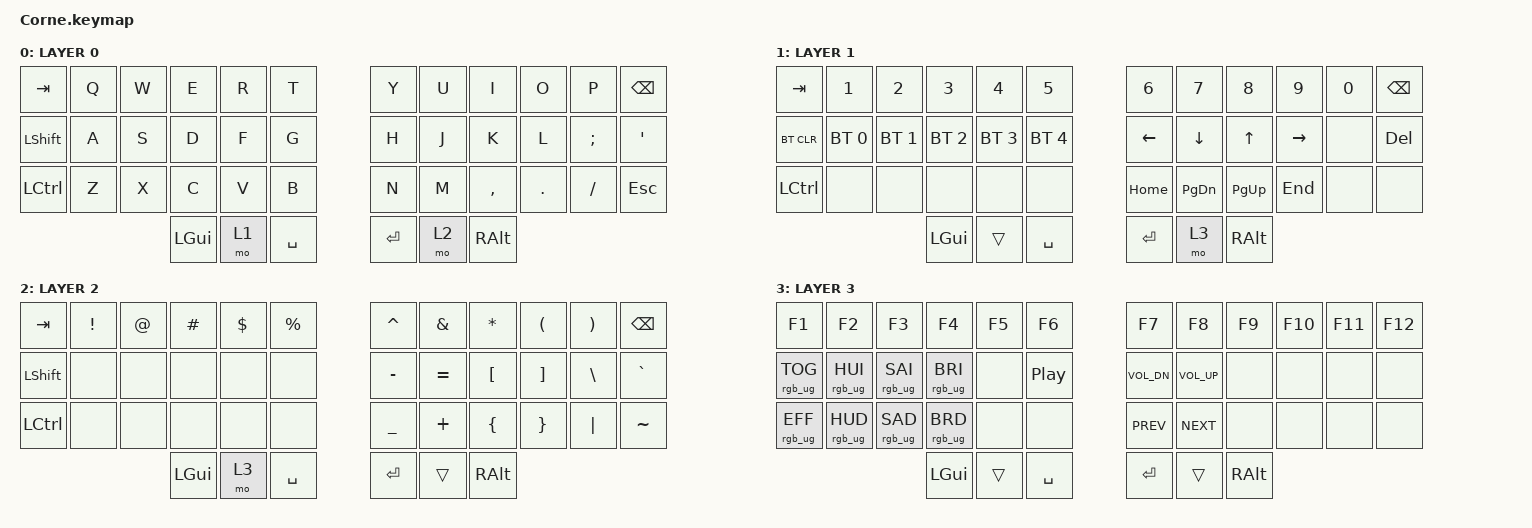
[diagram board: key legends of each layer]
/*
 * Copyright (c) 2020 The ZMK Contributors
 *
 * SPDX-License-Identifier: MIT
 */

#include <behaviors.dtsi>
#include <dt-bindings/zmk/keys.h>
#include <dt-bindings/zmk/bt.h>
#include <dt-bindings/zmk/rgb.h>

/ {
        keymap {
                compatible = "zmk,keymap";

                default_layer {
// -----------------------------------------------------------------------------------------
// |  TAB |  Q  |  W  |  E  |  R  |  T  |   |  Y  |  U   |  I  |  O  |  P  | BKSP |
// | SHFT |  A  |  S  |  D  |  F  |  G  |   |  H  |  J   |  K  |  L  |  ;  |  '   |
// | CTRL |  Z  |  X  |  C  |  V  |  B  |   |  N  |  M   |  ,  |  .  |  /  | ESC  |
//                    | GUI | LWR | SPC |   | ENT | RSE  | ALT |
                        bindings = <
   &kp TAB   &kp Q &kp W &kp E &kp R &kp T   &kp Y &kp U  &kp I     &kp O   &kp P    &kp BSPC
   &kp LSHFT &kp A &kp S &kp D &kp F &kp G   &kp H &kp J  &kp K     &kp L   &kp SEMI &kp SQT
   &kp LCTRL &kp Z &kp X &kp C &kp V &kp B   &kp N &kp M  &kp COMMA &kp DOT &kp FSLH &kp ESC
                  &kp LGUI &mo 1 &kp SPACE   &kp RET &mo 2 &kp RALT
                        >;
                display-name = "LAYER 0";
                };
                lower_layer {
// -----------------------------------------------------------------------------------------
// |  TAB |  1  |  2  |  3  |  4  |  5  |   |  6    | 7    |  8  |  9   |  0  | BKSP |
// | BTCLR| BT1 | BT2 | BT3 | BT4 | BT5 |   | LEFT  | DOWN |  UP | RIGHT|     | DEL  |
// | CTRL |     |     |     |     |     |   | HOME  | PGDN | PGUP| END  |     |      |
//                    | GUI |     | SPC |   | ENT   | FUNC | ALT |
                        bindings = <
   &kp TAB    &kp N1       &kp N2       &kp N3       &kp N4       &kp N5         &kp N6   &kp N7    &kp N8   &kp N9    &kp N0 &kp BSPC
   &bt BT_CLR &bt BT_SEL 0 &bt BT_SEL 1 &bt BT_SEL 2 &bt BT_SEL 3 &bt BT_SEL 4   &kp LEFT &kp DOWN  &kp UP   &kp RIGHT &none  &kp DEL
   &kp LCTRL  &none        &none        &none        &none        &none         &kp HOME &kp PG_DN &kp PG_UP &kp END  &none  &none
                                    &kp LGUI     &trans       &kp SPACE      &kp RET  &mo 3    &kp RALT
                        >;
                display-name = "LAYER 1";
                };

                raise_layer {
// -----------------------------------------------------------------------------------------
// |  TAB |  !  |  @  |  #  |  $  |  %  |   |  ^  |  &  |  *  |  (  |  )  | BKSP |
// | SHFT |     |     |     |     |     |   |  -  |  =  |  [  |  ]  |  \  |  `   |
// | CTRL |     |     |     |     |     |   |  _  |  +  |  {  |  }  | "|" |  ~   |
//                    | GUI | FUNC| SPC |   | ENT |     | ALT |
                        bindings = <
   &kp  TAB  &kp EXCL &kp AT &kp HASH &kp DLLR &kp PRCNT   &kp CARET &kp AMPS  &kp ASTRK &kp LPAR &kp RPAR &kp BSPC
   &kp LSHFT &none    &none  &none    &none    &none       &kp MINUS &kp EQUAL &kp LBKT  &kp RBKT &kp BSLH &kp GRAVE
   &kp LCTRL &none    &none  &none    &none    &none       &kp UNDER &kp PLUS  &kp LBRC  &kp RBRC &kp PIPE &kp TILDE
                             &kp LGUI &mo 3    &kp SPACE   &kp RET   &trans    &kp RALT
                        >;
                display-name = "LAYER 2";
                };

                func_layer {
// -----------------------------------------------------------------------------------------
// |  F1    | F2    | F3    | F4    | F5  | F6   |   | F7   | F8   | F9  | F10 | F11 | F12 |
// | RGBTOG | HUE+  | SAT+  | BRI+  |     | PLAY |   | VOL- | VOL+ |     |     |     |     |
// | RGBEFF | HUE-  | SAT-  | BRI-  |     |      |   | PREV | NEXT |     |     |     |     |
//                    | GUI |     | SPC |   | ENT |     | ALT |
                        bindings = <
   &kp F1        &kp F2      &kp F3      &kp F4      &kp F5 &kp F6      &kp F7    &kp F8    &kp F9 &kp F10 &kp F11 &kp F12
   &rgb_ug RGB_TOG &rgb_ug RGB_HUI &rgb_ug RGB_SAI &rgb_ug RGB_BRI &none  &kp C_PP    &kp C_VOL_DN &kp C_VOL_UP &none  &none   &none   &none
   &rgb_ug RGB_EFF &rgb_ug RGB_HUD &rgb_ug RGB_SAD &rgb_ug RGB_BRD &none  &none       &kp C_PREV   &kp C_NEXT   &none  &none   &none   &none
                                    &kp LGUI      &trans      &kp SPACE   &kp RET   &trans  &kp RALT
                        >;
                display-name = "LAYER 3";
                };
        extra1 { status = "reserved"; };

        extra2 { status = "reserved"; };

        extra3 { status = "reserved"; };

        extra4 { status = "reserved"; };

        extra5 { status = "reserved"; };
        };
};
